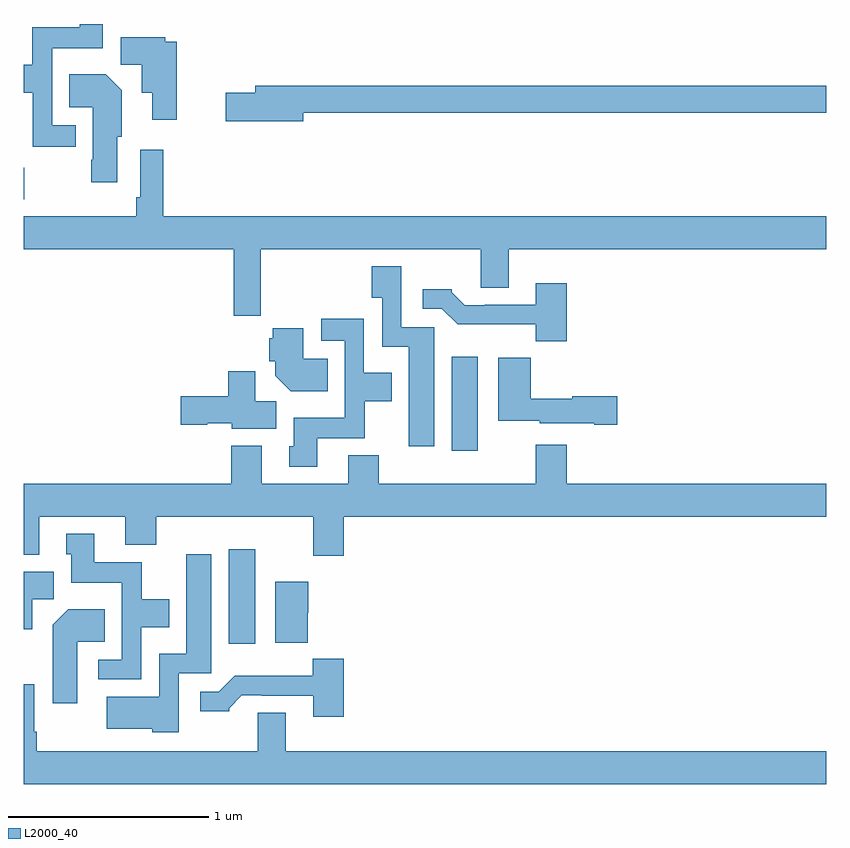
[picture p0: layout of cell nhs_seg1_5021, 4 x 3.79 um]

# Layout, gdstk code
import gdstk
lib = gdstk.Library(unit=1e-6, precision=1e-09)
def R(c, l, rs):  # rectangles x0, y0, x1, y1
    for r in rs: c.add(gdstk.rectangle(r[:2], r[2:], *l))
def P(c, l, *ps):  # polygons
    for p in ps: c.add(gdstk.Polygon(p, *l))
L2000_40 = (2000, 40)

nhs_seg1_5021 = lib.new_cell('nhs_seg1_5021')
R(nhs_seg1_5021, L2000_40, [(384.023,539.112,384.154,539.581), (385.133,540.072,385.264,540.541), (383,541.326,383.004,541.482)])
P(nhs_seg1_5021, L2000_40, [(383.26,541.695),(383.142,541.695),(383.142,542.078),(383.395,542.078),(383.395,542.199),(383.279,542.199),(383.279,542.182),(383.044,542.182),(383.044,541.996),(383,541.996),(383,541.856),(383.046,541.856),(383.046,541.587),(383.26,541.587)],
  [(383.764,542.11),(383.706,542.11),(383.706,542.134),(383.483,542.134),(383.483,541.996),(383.588,541.996),(383.588,541.856),(383.642,541.856),(383.642,541.722),(383.764,541.722)],
  [(383.467,541.638),(383.488,541.638),(383.488,541.87),(383.41,541.948),(383.227,541.948),(383.227,541.784),(383.345,541.784),(383.345,541.522),(383.338,541.522),(383.338,541.41),(383.467,541.41)],
  [(384.394,541.756),(387,541.756),(387,541.892),(384.155,541.892),(384.155,541.856),(384.006,541.856),(384.006,541.714),(384.394,541.714)],
  [(384.182,541.076),(385.277,541.076),(385.277,540.886),(385.417,540.886),(385.417,541.076),(387,541.076),(387,541.24),(383.696,541.24),(383.696,541.573),(383.58,541.573),(383.58,541.336),(383.56,541.336),(383.56,541.24),(383,541.24),(383,541.076),(384.046,541.076),(384.046,540.744),(384.182,540.744)],
  [(385.045,540.687),(384.882,540.687),(384.882,540.991),(384.734,540.991),(384.734,540.835),(384.786,540.835),(384.786,540.59),(384.92,540.59),(384.92,540.096),(385.045,540.096)],
  [(385.706,540.907),(385.553,540.907),(385.553,540.801),(385.297,540.801),(385.297,540.798),(385.198,540.798),(385.134,540.862),(385.134,540.877),(384.99,540.877),(384.99,540.78),(385.083,540.78),(385.162,540.702),(385.551,540.702),(385.551,540.617),(385.706,540.617)],
  [(384.463,540.134),(384.699,540.134),(384.699,540.32),(384.835,540.32),(384.835,540.46),(384.696,540.46),(384.696,540.73),(384.483,540.73),(384.483,540.621),(384.6,540.621),(384.6,540.238),(384.347,540.238),(384.347,540.096),(384.323,540.096),(384.323,539.994),(384.463,539.994)],
  [(384.515,540.532),(384.394,540.532),(384.394,540.682),(384.242,540.682),(384.242,540.633),(384.224,540.633),(384.224,540.519),(384.254,540.519),(384.254,540.446),(384.332,540.368),(384.515,540.368)],
  [(385.957,540.344),(385.734,540.344),(385.734,540.331),(385.526,540.331),(385.526,540.535),(385.364,540.535),(385.364,540.221),(385.572,540.221),(385.572,540.209),(385.844,540.209),(385.844,540.202),(385.957,540.202)],
  [(384.259,540.32),(384.154,540.32),(384.154,540.469),(384.02,540.469),(384.02,540.344),(383.784,540.344),(383.784,540.202),(383.916,540.202),(383.916,540.209),(384.036,540.209),(384.036,540.182),(384.259,540.182)],
  [(384.596,539.744),(387,539.744),(387,539.908),(385.706,539.908),(385.706,540.103),(385.553,540.103),(385.553,539.908),(384.77,539.908),(384.77,540.049),(384.617,540.049),(384.617,539.908),(384.187,539.908),(384.187,540.097),(384.035,540.097),(384.035,539.908),(383,539.908),(383,539.555),(383.077,539.555),(383.077,539.744),(383.507,539.744),(383.507,539.603),(383.66,539.603),(383.66,539.744),(384.443,539.744),(384.443,539.55),(384.596,539.55)],
  [(383.586,539.192),(383.725,539.192),(383.725,539.332),(383.589,539.332),(383.589,539.518),(383.353,539.518),(383.353,539.659),(383.213,539.659),(383.213,539.556),(383.237,539.556),(383.237,539.414),(383.49,539.414),(383.49,539.031),(383.373,539.031),(383.373,538.935),(383.586,538.935)],
  [(383.772,538.965),(383.935,538.965),(383.935,539.557),(383.81,539.557),(383.81,539.062),(383.676,539.062),(383.676,538.846),(383.415,538.846),(383.415,538.688),(383.64,538.688),(383.64,538.67),(383.772,538.67)],
  [(383.044,539.332),(383.149,539.332),(383.149,539.47),(383,539.47),(383,539.184),(383.044,539.184)],
  [(384.416,539.265),(384.418,539.265),(384.418,539.419),(384.254,539.419),(384.254,539.117),(384.416,539.117)],
  [(383.266,539.12),(383.405,539.12),(383.405,539.284),(383.222,539.284),(383.144,539.206),(383.144,538.815),(383.266,538.815)],
  [(384.596,539.035),(384.441,539.035),(384.441,538.951),(384.052,538.951),(383.973,538.872),(383.88,538.872),(383.88,538.775),(384.024,538.775),(384.024,538.79),(384.088,538.854),(384.187,538.854),(384.187,538.851),(384.443,538.851),(384.443,538.746),(384.596,538.746)],
  [(387,538.576),(384.307,538.576),(384.307,538.766),(384.167,538.766),(384.167,538.576),(383.065,538.576),(383.065,538.672),(383.052,538.672),(383.052,538.909),(383,538.909),(383,538.412),(387,538.412)])

lib.write_gds('nhs_seg1_5021.gds')
